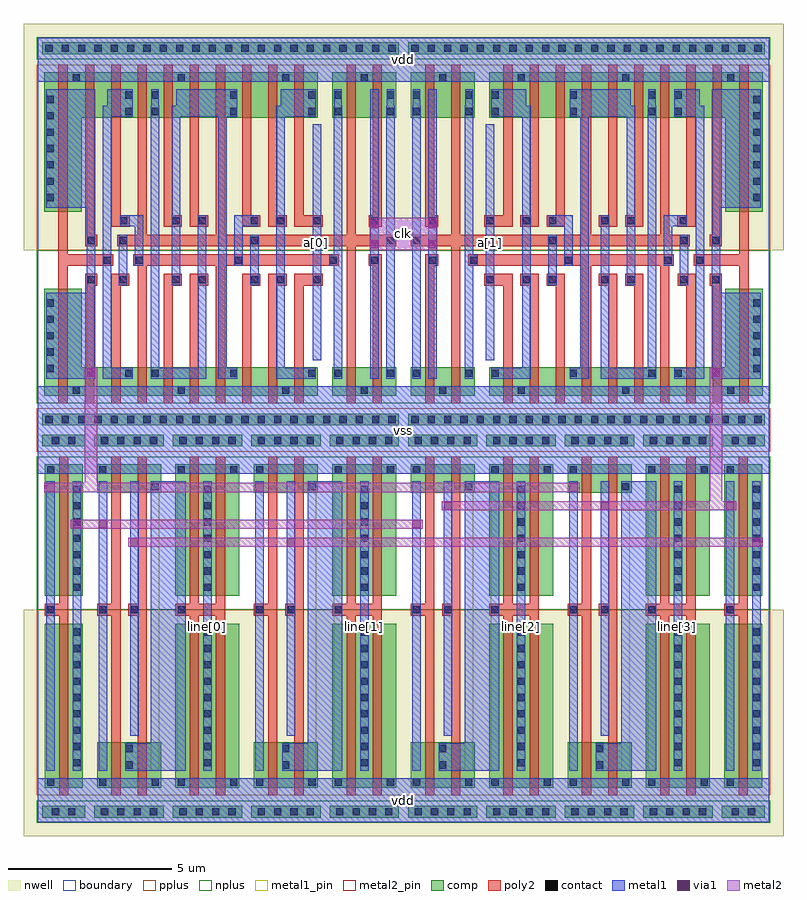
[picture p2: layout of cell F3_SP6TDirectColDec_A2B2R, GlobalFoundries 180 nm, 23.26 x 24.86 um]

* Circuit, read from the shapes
.subckt F3_SP6TDirectColDec_A2B2R a[0] a[1] clk line[0] line[1] line[2] line[3] vdd vss
XM1 vss n1 F3_Dec_inv_x1_4/i vss nfet_03v3 w=3.275u l=0.28u
XM2 F3_Dec_nand2_x0_0/i0 F3_Dec_inv_x1_4/i vss vss nfet_03v3 w=4.025u l=0.28u
XM3 n2 F3_Dec_inv_x1_4/i vss vss nfet_03v3 w=0.88u l=0.28u
XM4 n3 F3_Dec_nand2_x0_0/i0 vss vss nfet_03v3 w=0.88u l=0.28u
XM5 n1 n4 n2 vss nfet_03v3 w=0.88u l=0.28u
XM6 F3_Dec_inv_x2_7/i F3_Dec_nand2_x0_0/i1 n3 vss nfet_03v3 w=0.88u l=0.28u
XM7 n5 n6 n1 vss nfet_03v3 w=0.88u l=0.28u
XM8 vss n7 n5 vss nfet_03v3 w=0.88u l=0.28u
XM9 line[0] F3_Dec_inv_x2_7/i vss vss nfet_03v3 w=4.025u l=0.28u m=2
XM10 n8 n5 vss vss nfet_03v3 w=0.88u l=0.28u
XM11 n7 n6 n8 vss nfet_03v3 w=0.88u l=0.28u
XM12 n9 n4 n7 vss nfet_03v3 w=0.88u l=0.28u
XM13 n10 F3_Dec_inv_x1_4/i vss vss nfet_03v3 w=0.88u l=0.28u
XM14 vss n11 n9 vss nfet_03v3 w=0.88u l=0.28u
XM15 F3_Dec_inv_x2_8/i F3_Dec_nand2_x0_0/i1 n10 vss nfet_03v3 w=0.88u l=0.28u
XM16 n11 a[0] vss vss nfet_03v3 w=0.88u l=0.28u
XM17 line[1] F3_Dec_inv_x2_8/i vss vss nfet_03v3 w=4.025u l=0.28u m=2
XM18 vss n4 n6 vss nfet_03v3 w=0.88u l=0.28u
XM19 n4 clk vss vss nfet_03v3 w=0.88u l=0.28u
XM20 n12 F3_Dec_nand2_x0_0/i0 vss vss nfet_03v3 w=0.88u l=0.28u
XM21 vss clk n13 vss nfet_03v3 w=0.88u l=0.28u
XM22 F3_Dec_inv_x2_9/i F3_Dec_inv_x1_5/i n12 vss nfet_03v3 w=0.88u l=0.28u
XM23 n14 n13 vss vss nfet_03v3 w=0.88u l=0.28u
XM24 line[2] F3_Dec_inv_x2_9/i vss vss nfet_03v3 w=4.025u l=0.28u m=2
XM25 vss a[1] n15 vss nfet_03v3 w=0.88u l=0.28u
XM26 n16 n15 vss vss nfet_03v3 w=0.88u l=0.28u
XM27 n17 n13 n16 vss nfet_03v3 w=0.88u l=0.28u
XM28 n18 F3_Dec_inv_x1_4/i vss vss nfet_03v3 w=0.88u l=0.28u
XM29 n19 n14 n17 vss nfet_03v3 w=0.88u l=0.28u
XM30 F3_Dec_inv_x2_10/i F3_Dec_inv_x1_5/i n18 vss nfet_03v3 w=0.88u l=0.28u
XM31 vss n20 n19 vss nfet_03v3 w=0.88u l=0.28u
XM32 n20 n17 vss vss nfet_03v3 w=0.88u l=0.28u
XM33 line[3] F3_Dec_inv_x2_10/i vss vss nfet_03v3 w=4.025u l=0.28u m=2
XM34 n21 n14 n20 vss nfet_03v3 w=0.88u l=0.28u
XM35 n22 n13 n21 vss nfet_03v3 w=0.88u l=0.28u
XM36 vss F3_Dec_inv_x1_5/i n22 vss nfet_03v3 w=0.88u l=0.28u
XM37 F3_Dec_nand2_x0_0/i1 F3_Dec_inv_x1_5/i vss vss nfet_03v3 w=4.025u l=0.28u
XM38 F3_Dec_inv_x1_5/i n21 vss vss nfet_03v3 w=3.275u l=0.28u
XM39 vdd n1 F3_Dec_inv_x1_4/i vdd pfet_03v3 w=4.275u l=0.28u
XM40 F3_Dec_nand2_x0_0/i0 F3_Dec_inv_x1_4/i vdd vdd pfet_03v3 w=5.025u l=0.28u
XM41 n23 F3_Dec_inv_x1_4/i vdd vdd pfet_03v3 w=1.4u l=0.28u
XM42 F3_Dec_inv_x2_7/i F3_Dec_nand2_x0_0/i0 vdd vdd pfet_03v3 w=1.4u l=0.28u
XM43 n1 n6 n23 vdd pfet_03v3 w=1.4u l=0.28u
XM44 vdd F3_Dec_nand2_x0_0/i1 F3_Dec_inv_x2_7/i vdd pfet_03v3 w=1.4u l=0.28u
XM45 n5 n4 n1 vdd pfet_03v3 w=1.4u l=0.28u
XM46 vdd n7 n5 vdd pfet_03v3 w=1.4u l=0.28u
XM47 line[0] F3_Dec_inv_x2_7/i vdd vdd pfet_03v3 w=5.025u l=0.28u m=2
XM48 n24 n5 vdd vdd pfet_03v3 w=1.4u l=0.28u
XM49 n7 n4 n24 vdd pfet_03v3 w=1.4u l=0.28u
XM50 n25 n6 n7 vdd pfet_03v3 w=1.4u l=0.28u
XM51 F3_Dec_inv_x2_8/i F3_Dec_inv_x1_4/i vdd vdd pfet_03v3 w=1.4u l=0.28u
XM52 vdd n11 n25 vdd pfet_03v3 w=1.4u l=0.28u
XM53 vdd F3_Dec_nand2_x0_0/i1 F3_Dec_inv_x2_8/i vdd pfet_03v3 w=1.4u l=0.28u
XM54 n11 a[0] vdd vdd pfet_03v3 w=1.4u l=0.28u
XM55 line[1] F3_Dec_inv_x2_8/i vdd vdd pfet_03v3 w=5.025u l=0.28u m=2
XM56 vdd n4 n6 vdd pfet_03v3 w=1.4u l=0.28u
XM57 n4 clk vdd vdd pfet_03v3 w=1.4u l=0.28u
XM58 F3_Dec_inv_x2_9/i F3_Dec_nand2_x0_0/i0 vdd vdd pfet_03v3 w=1.4u l=0.28u
XM59 vdd clk n13 vdd pfet_03v3 w=1.4u l=0.28u
XM60 vdd F3_Dec_inv_x1_5/i F3_Dec_inv_x2_9/i vdd pfet_03v3 w=1.4u l=0.28u
XM61 n14 n13 vdd vdd pfet_03v3 w=1.4u l=0.28u
XM62 line[2] F3_Dec_inv_x2_9/i vdd vdd pfet_03v3 w=5.025u l=0.28u m=2
XM63 vdd a[1] n15 vdd pfet_03v3 w=1.4u l=0.28u
XM64 n26 n15 vdd vdd pfet_03v3 w=1.4u l=0.28u
XM65 n17 n14 n26 vdd pfet_03v3 w=1.4u l=0.28u
XM66 F3_Dec_inv_x2_10/i F3_Dec_inv_x1_4/i vdd vdd pfet_03v3 w=1.4u l=0.28u
XM67 n27 n13 n17 vdd pfet_03v3 w=1.4u l=0.28u
XM68 vdd F3_Dec_inv_x1_5/i F3_Dec_inv_x2_10/i vdd pfet_03v3 w=1.4u l=0.28u
XM69 vdd n20 n27 vdd pfet_03v3 w=1.4u l=0.28u
XM70 n20 n17 vdd vdd pfet_03v3 w=1.4u l=0.28u
XM71 line[3] F3_Dec_inv_x2_10/i vdd vdd pfet_03v3 w=5.025u l=0.28u m=2
XM72 n21 n13 n20 vdd pfet_03v3 w=1.4u l=0.28u
XM73 n28 n14 n21 vdd pfet_03v3 w=1.4u l=0.28u
XM74 vdd F3_Dec_inv_x1_5/i n28 vdd pfet_03v3 w=1.4u l=0.28u
XM75 F3_Dec_nand2_x0_0/i1 F3_Dec_inv_x1_5/i vdd vdd pfet_03v3 w=5.025u l=0.28u
XM76 F3_Dec_inv_x1_5/i n21 vdd vdd pfet_03v3 w=4.275u l=0.28u
.ends

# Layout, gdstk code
from math import pi, radians
import gdstk
lib = gdstk.Library(unit=1e-6, precision=1e-09)
def R(c, l, rs):  # rectangles x0, y0, x1, y1
    for r in rs: c.add(gdstk.rectangle(r[:2], r[2:], *l))
def A(c, l, x, y, w, h, nx, ny, dx, dy):  # array of equal rectangles
    R(c, l, [(x+i*dx, y+j*dy, x+i*dx+w, y+j*dy+h) for i in range(nx) for j in range(ny)])
def P(c, l, *ps):  # polygons
    for p in ps: c.add(gdstk.Polygon(p, *l))
boundary = (0, 0)
nwell = (21, 0)
comp = (22, 0)
poly2 = (30, 0)
pplus = (31, 0)
nplus = (32, 0)
contact = (33, 0)
metal1 = (34, 0)
metal1_pin = (34, 10)
via1 = (35, 0)
metal2 = (36, 0)
metal2_pin = (36, 10)

f3_dec_nand2_x0 = lib.new_cell('F3_Dec_nand2_x0')
R(f3_dec_nand2_x0, nwell, [(-0.43,5.5,2.83,12.43)])
R(f3_dec_nand2_x0, comp, [(0.14,0.14,2.26,0.5), (0.22,1.045,2.18,1.925), (0.22,9.555,2.18,10.955), (0.14,11.5,2.26,11.86)])
P(f3_dec_nand2_x0, poly2, [(1.46,0.825),(1.46,5.32),(1.18,5.32),(1.18,5.68),(1.46,5.68),(1.46,11.175),(1.74,11.175),(1.74,0.825)],
  [(0.66,0.825),(0.66,5.32),(0.22,5.32),(0.22,5.68),(0.66,5.68),(0.66,11.175),(0.94,11.175),(0.94,0.825)])
R(f3_dec_nand2_x0, pplus, [(-0.02,-0.02,2.42,0.66), (-0.02,5.5,2.42,11.185)])
R(f3_dec_nand2_x0, nplus, [(-0.02,0.815,2.42,5.5), (-0.02,11.34,2.42,12.02)])
A(f3_dec_nand2_x0, contact, 0.34, 0.21, 0.22, 0.22, 4, 2, 0.5, 11.36)
R(f3_dec_nand2_x0, contact, [(0.29,1.115,0.51,1.335), (1.89,1.63,2.11,1.85), (0.29,5.39,0.51,5.61), (1.25,5.39,1.47,5.61), (1.09,9.64,1.31,9.86), (1.09,10.14,1.31,10.36), (0.29,10.665,0.51,10.885), (1.89,10.665,2.11,10.885)])
R(f3_dec_nand2_x0, metal1, [(0,0,2.4,1.34), (0.27,1.57,0.53,10.43), (1.23,1.57,1.49,9.35), (0,10.66,2.4,12)])
P(f3_dec_nand2_x0, metal1, [(1.87,1.57),(1.87,9.58),(1.085,9.58),(1.085,10.43),(2.13,10.43),(2.13,1.57)])
R(f3_dec_nand2_x0, metal1_pin, [(0,0,2.4,1.34), (0.27,1.57,0.53,10.43), (1.23,1.57,1.49,9.35), (1.87,1.57,2.13,10.43), (0,10.66,2.4,12)])
f3_dec_nand2_x0.add(gdstk.Label('nq', (2,6), layer=34, texttype=10))
f3_dec_nand2_x0.add(gdstk.Label('i1', (1.36,5.46), layer=34, texttype=10))
f3_dec_nand2_x0.add(gdstk.Label('i0', (0.4,6), layer=34, texttype=10))
f3_dec_nand2_x0.add(gdstk.Label('vdd', (1.2,11.33), layer=34, texttype=10))
f3_dec_nand2_x0.add(gdstk.Label('vss', (1.2,0.67), layer=34, texttype=10))

f3_dec_inv_x1 = lib.new_cell('F3_Dec_inv_x1')
R(f3_dec_inv_x1, nwell, [(-0.43,5.5,2.03,12.43)])
R(f3_dec_inv_x1, comp, [(0.14,0.14,1.46,0.5), (0.22,1.045,1.38,5.07), (0.22,5.93,1.38,10.955), (0.14,11.5,1.46,11.86)])
P(f3_dec_inv_x1, poly2, [(0.66,0.825),(0.66,5.32),(0.22,5.32),(0.22,5.68),(0.66,5.68),(0.66,11.175),(0.94,11.175),(0.94,0.825)])
R(f3_dec_inv_x1, pplus, [(-0.02,-0.02,1.62,0.66), (-0.02,5.5,1.62,11.185)])
R(f3_dec_inv_x1, nplus, [(-0.02,0.815,1.62,5.5), (-0.02,11.34,1.62,12.02)])
A(f3_dec_inv_x1, contact, 1.09, 1.705, 0.22, 0.22, 1, 7, 0, 0.5)
A(f3_dec_inv_x1, contact, 1.09, 6.075, 0.22, 0.22, 1, 9, 0, 0.5)
R(f3_dec_inv_x1, contact, [(0.44,0.21,0.66,0.43), (0.94,0.21,1.16,0.43), (0.29,1.115,0.51,1.335), (0.29,5.39,0.51,5.61), (0.29,10.665,0.51,10.885), (0.44,11.57,0.66,11.79), (0.94,11.57,1.16,11.79)])
R(f3_dec_inv_x1, metal1, [(0,0,1.6,1.34), (0.27,1.57,0.53,10.43), (1.07,1.57,1.33,10.43), (0,10.66,1.6,12)])
R(f3_dec_inv_x1, metal1_pin, [(0,0,1.6,1.34), (0.27,1.57,0.53,10.43), (1.07,1.57,1.33,10.43), (0,10.66,1.6,12)])
f3_dec_inv_x1.add(gdstk.Label('i', (0.4,6), layer=34, texttype=10))
f3_dec_inv_x1.add(gdstk.Label('nq', (1.2,6), layer=34, texttype=10))
f3_dec_inv_x1.add(gdstk.Label('vdd', (0.8,11.33), layer=34, texttype=10))
f3_dec_inv_x1.add(gdstk.Label('vss', (0.8,0.67), layer=34, texttype=10))

f3_dec_dff_x1 = lib.new_cell('F3_Dec_dff_x1')
R(f3_dec_dff_x1, nwell, [(-0.43,5.5,11.63,12.43)])
R(f3_dec_dff_x1, comp, [(0.14,0.14,11.06,0.5), (0.22,1.045,2.18,1.925), (0.22,9.555,2.18,10.955), (0.14,11.5,11.06,11.86)])
P(f3_dec_dff_x1, comp, [(2.62,1.045),(2.62,1.925),(9.84,1.925),(9.84,4.32),(11,4.32),(11,1.045)],
  [(9.84,6.68),(9.84,9.555),(2.62,9.555),(2.62,10.955),(11,10.955),(11,6.68)])
P(f3_dec_dff_x1, poly2, [(9.38,5.62),(9.38,5.98),(9.46,5.98),(9.46,11.175),(9.74,11.175),(9.74,5.62)],
  [(10.28,0.825),(10.28,5.02),(8.89,5.02),(8.89,5.38),(10.28,5.38),(10.28,11.175),(10.56,11.175),(10.56,0.825)],
  [(2.47,6.22),(2.47,6.58),(3.06,6.58),(3.06,11.175),(3.34,11.175),(3.34,6.22)],
  [(3.06,0.825),(3.06,4.42),(2.47,4.42),(2.47,4.78),(3.34,4.78),(3.34,0.825)],
  [(3.58,6.22),(3.58,6.58),(3.86,6.58),(3.86,11.175),(4.14,11.175),(4.14,6.22)],
  [(4.38,6.22),(4.38,6.58),(4.66,6.58),(4.66,11.175),(4.94,11.175),(4.94,6.22)],
  [(5.98,6.22),(5.98,6.58),(6.26,6.58),(6.26,11.175),(6.54,11.175),(6.54,6.22)],
  [(6.78,6.22),(6.78,6.58),(7.06,6.58),(7.06,11.175),(7.34,11.175),(7.34,6.22)],
  [(8.38,6.22),(8.38,6.58),(8.66,6.58),(8.66,11.175),(8.94,11.175),(8.94,6.22)],
  [(5.46,0.825),(5.46,5.02),(1.98,5.02),(1.98,5.38),(8.27,5.38),(8.27,5.02),(8.14,5.02),(8.14,0.825),(7.86,0.825),(7.86,5.02),(5.74,5.02),(5.74,0.825)],
  [(3.86,0.825),(3.86,4.42),(3.58,4.42),(3.58,4.78),(4.14,4.78),(4.14,0.825)],
  [(4.66,0.825),(4.66,4.42),(4.38,4.42),(4.38,4.78),(4.94,4.78),(4.94,0.825)],
  [(6.26,0.825),(6.26,4.42),(5.98,4.42),(5.98,4.78),(6.54,4.78),(6.54,0.825)],
  [(7.06,0.825),(7.06,4.42),(6.78,4.42),(6.78,4.78),(7.34,4.78),(7.34,0.825)],
  [(9.46,0.825),(9.46,4.42),(9.38,4.42),(9.38,4.78),(9.74,4.78),(9.74,0.825)],
  [(0.66,0.825),(0.66,5.38),(1.07,5.38),(1.07,5.02),(0.94,5.02),(0.94,0.825)],
  [(0.66,6.22),(0.66,11.175),(0.94,11.175),(0.94,6.58),(1.07,6.58),(1.07,6.22)],
  [(8.66,0.825),(8.66,4.42),(8.4,4.42),(8.4,4.78),(8.94,4.78),(8.94,0.825)],
  [(1.46,0.825),(1.46,5.62),(0.22,5.62),(0.22,5.98),(1.46,5.98),(1.46,11.175),(1.74,11.175),(1.74,5.98),(5.46,5.98),(5.46,11.175),(5.74,11.175),(5.74,5.98),(7.86,5.98),(7.86,11.175),(8.14,11.175),(8.14,5.98),(8.76,5.98),(8.76,5.62),(1.74,5.62),(1.74,0.825)])
R(f3_dec_dff_x1, pplus, [(-0.02,-0.02,11.22,0.66), (-0.02,5.5,11.22,11.185)])
R(f3_dec_dff_x1, nplus, [(-0.02,0.815,11.22,5.5), (-0.02,11.34,11.22,12.02)])
A(f3_dec_dff_x1, contact, 0.24, 0.21, 0.22, 0.22, 22, 2, 0.5, 11.36)
A(f3_dec_dff_x1, contact, 2.69, 1.63, 0.22, 0.22, 3, 2, 2.4, 8.01)
A(f3_dec_dff_x1, contact, 10.71, 1.775, 0.22, 0.22, 1, 5, 0, 0.5)
A(f3_dec_dff_x1, contact, 10.71, 7.005, 0.22, 0.22, 1, 7, 0, 0.5)
A(f3_dec_dff_x1, contact, 2.69, 10.14, 0.22, 0.22, 3, 1, 2.4, 0)
R(f3_dec_dff_x1, contact, [(1.09,1.115,1.31,1.335), (3.49,1.115,3.71,1.335), (6.69,1.115,6.91,1.335), (9.91,1.115,10.13,1.335), (0.29,1.63,0.51,1.85), (1.89,1.63,2.11,1.85), (8.29,1.63,8.51,1.85), (2.54,4.49,2.76,4.71), (3.65,4.49,3.87,4.71), (4.45,4.49,4.67,4.71), (6.05,4.49,6.27,4.71), (6.85,4.49,7.07,4.71), (8.47,4.49,8.69,4.71), (9.45,4.49,9.67,4.71), (0.78,5.09,1,5.31), (2.05,5.09,2.27,5.31), (4.94,5.09,5.16,5.31), (7.98,5.09,8.2,5.31), (8.96,5.09,9.18,5.31), (0.29,5.69,0.51,5.91), (4.45,5.69,4.67,5.91), (8.47,5.69,8.69,5.91), (9.45,5.69,9.67,5.91), (0.78,6.29,1,6.51), (2.54,6.29,2.76,6.51), (3.65,6.29,3.87,6.51), (4.45,6.29,4.67,6.51), (6.05,6.29,6.27,6.51), (6.85,6.29,7.07,6.51), (8.45,6.29,8.67,6.51), (0.29,9.64,0.51,9.86), (1.89,9.64,2.11,9.86), (8.29,9.64,8.51,9.86), (0.29,10.14,0.51,10.36), (1.89,10.14,2.11,10.36), (8.29,10.14,8.51,10.36), (1.09,10.665,1.31,10.885), (3.49,10.665,3.71,10.885), (6.69,10.665,6.91,10.885), (9.91,10.665,10.13,10.885)])
R(f3_dec_dff_x1, metal1, [(0,0,11.2,1.34), (0.76,1.57,1.02,10.43), (2.52,2.14,2.78,9.35), (4.43,4.43,4.69,5.97), (8.45,4.43,8.71,5.97), (0,10.66,11.2,12)])
P(f3_dec_dff_x1, metal1, [(9.43,1.57),(9.43,10.43),(10.935,10.43),(10.935,6.8),(9.69,6.8),(9.69,4.2),(10.935,4.2),(10.935,1.57)],
  [(8.285,1.57),(8.285,1.91),(8.94,1.91),(8.94,9.58),(8.285,9.58),(8.285,10.43),(9.07,10.43),(9.07,9.92),(9.2,9.92),(9.2,1.57)],
  [(5.085,1.57),(5.085,1.91),(5.41,1.91),(5.41,9.58),(5.085,9.58),(5.085,10.43),(6.96,10.43),(6.96,9.92),(7.09,9.92),(7.09,4.43),(6.83,4.43),(6.83,9.58),(5.67,9.58),(5.67,1.57)],
  [(4.92,5.03),(4.92,6.23),(4.445,6.23),(4.445,6.57),(5.18,6.57),(5.18,5.03)],
  [(2.685,1.57),(2.685,1.91),(3.63,1.91),(3.63,9.58),(2.685,9.58),(2.685,10.43),(3.76,10.43),(3.76,9.92),(3.89,9.92),(3.89,1.57)],
  [(7.96,5.03),(7.96,6.57),(8.675,6.57),(8.675,6.23),(8.22,6.23),(8.22,5.03)],
  [(6.03,1.57),(6.03,6.57),(6.29,6.57),(6.29,1.91),(7.47,1.91),(7.47,9.92),(7.485,9.92),(7.485,10.43),(7.715,10.43),(7.715,9.92),(7.73,9.92),(7.73,1.57)],
  [(1.87,1.57),(1.87,9.92),(1.885,9.92),(1.885,10.43),(2.115,10.43),(2.115,9.92),(2.13,9.92),(2.13,5.37),(2.275,5.37),(2.275,5.03),(2.13,5.03),(2.13,1.57)],
  [(0.27,1.57),(0.27,9.92),(0.285,9.92),(0.285,10.43),(0.515,10.43),(0.515,9.92),(0.53,9.92),(0.53,1.57)])
R(f3_dec_dff_x1, metal1_pin, [(0,0,11.2,1.34), (0.76,1.57,1.02,10.43), (9.43,1.57,9.69,10.43), (2.52,2.14,2.78,9.35), (0,10.66,11.2,12)])
f3_dec_dff_x1.add(gdstk.Label('q', (9.56,6), layer=34, texttype=10))
f3_dec_dff_x1.add(gdstk.Label('i', (2.65,5.745), layer=34, texttype=10))
f3_dec_dff_x1.add(gdstk.Label('clk', (0.89,6), layer=34, texttype=10))
f3_dec_dff_x1.add(gdstk.Label('vss', (5.6,0.67), layer=34, texttype=10))
f3_dec_dff_x1.add(gdstk.Label('vdd', (5.6,11.33), layer=34, texttype=10))

f3_dec_inv_x2 = lib.new_cell('F3_Dec_inv_x2')
R(f3_dec_inv_x2, nwell, [(-0.43,5.5,2.83,12.43)])
R(f3_dec_inv_x2, comp, [(0.14,0.14,2.26,0.5), (0.22,1.045,2.18,5.07), (0.22,5.93,2.18,10.955), (0.14,11.5,2.26,11.86)])
P(f3_dec_inv_x2, poly2, [(0.66,0.825),(0.66,5.32),(0.22,5.32),(0.22,5.68),(0.66,5.68),(0.66,11.175),(0.94,11.175),(0.94,5.68),(1.46,5.68),(1.46,11.175),(1.74,11.175),(1.74,0.825),(1.46,0.825),(1.46,5.32),(0.94,5.32),(0.94,0.825)])
R(f3_dec_inv_x2, pplus, [(-0.02,-0.02,2.42,0.66), (-0.02,5.5,2.42,11.185)])
R(f3_dec_inv_x2, nplus, [(-0.02,0.815,2.42,5.5), (-0.02,11.34,2.42,12.02)])
A(f3_dec_inv_x2, contact, 0.34, 0.21, 0.22, 0.22, 4, 2, 0.5, 11.36)
A(f3_dec_inv_x2, contact, 1.09, 1.705, 0.22, 0.22, 1, 7, 0, 0.5)
A(f3_dec_inv_x2, contact, 1.09, 6.075, 0.22, 0.22, 1, 9, 0, 0.5)
R(f3_dec_inv_x2, contact, [(0.29,1.115,0.51,1.335), (1.89,1.115,2.11,1.335), (0.29,5.39,0.51,5.61), (0.29,10.665,0.51,10.885), (1.89,10.665,2.11,10.885)])
R(f3_dec_inv_x2, metal1, [(0,0,2.4,1.34), (0.27,1.57,0.53,10.43), (1.07,1.57,1.33,10.43), (0,10.66,2.4,12)])
R(f3_dec_inv_x2, metal1_pin, [(0,0,2.4,1.34), (0.27,1.57,0.53,10.43), (1.07,1.57,1.33,10.43), (0,10.66,2.4,12)])
f3_dec_inv_x2.add(gdstk.Label('i', (0.4,6), layer=34, texttype=10))
f3_dec_inv_x2.add(gdstk.Label('nq', (1.2,6), layer=34, texttype=10))
f3_dec_inv_x2.add(gdstk.Label('vdd', (1.2,11.33), layer=34, texttype=10))
f3_dec_inv_x2.add(gdstk.Label('vss', (1.2,0.67), layer=34, texttype=10))

f3_sp6tdirectcoldec_a2b2 = lib.new_cell('F3_SP6TDirectColDec_A2B2R')
R(f3_sp6tdirectcoldec_a2b2, boundary, [(0,-12,22.4,12)])
A(f3_sp6tdirectcoldec_a2b2, metal1, 3.47, -10.43, 1.06, 8.86, 4, 1, 4.8, 0)
A(f3_sp6tdirectcoldec_a2b2, metal1, 5.07, -10.43, 0.26, 8.86, 4, 1, 4.8, 0)
R(f3_sp6tdirectcoldec_a2b2, metal1, [(0,-12,22.4,-10.66), (2.83,-3.63,3.09,-3.25), (7.63,-3.63,7.89,-3.25), (21.87,-3.63,22.13,-3.25), (1.07,-3.07,1.33,-2.69), (1.87,-3.07,2.13,-2.69), (11.47,-3.07,11.73,-2.69), (12.43,-2.51,12.69,-2.13), (17.23,-2.51,17.49,-2.13), (21.07,-2.51,21.33,-2.13), (0.27,-1.95,0.53,-1.57), (6.67,-1.95,6.93,-1.57), (16.27,-1.95,16.53,-1.57), (0,-1.34,22.4,1.34), (1.51,1.57,1.77,1.95), (20.63,1.57,20.89,1.95), (8.42,2.14,8.68,9.35), (13.72,2.14,13.98,9.35), (10.18,5.5,10.44,6.5), (11.96,5.5,12.22,6.5), (0,10.66,22.4,12)])
A(f3_sp6tdirectcoldec_a2b2, metal1_pin, 5.07, -10.43, 0.26, 8.86, 4, 1, 4.8, 0)
R(f3_sp6tdirectcoldec_a2b2, metal1_pin, [(0,-12,22.4,-10.66), (0,-1.34,22.4,1.34), (8.42,2.14,8.68,9.35), (13.72,2.14,13.98,9.35), (0,10.66,22.4,12)])
R(f3_sp6tdirectcoldec_a2b2, via1, [(2.83,-3.57,3.09,-3.31), (7.63,-3.57,7.89,-3.31), (21.87,-3.57,22.13,-3.31), (1.07,-3.01,1.33,-2.75), (1.87,-3.01,2.13,-2.75), (11.47,-3.01,11.73,-2.75), (12.43,-2.45,12.69,-2.19), (17.23,-2.45,17.49,-2.19), (21.07,-2.45,21.33,-2.19), (0.27,-1.89,0.53,-1.63), (6.67,-1.89,6.93,-1.63), (16.27,-1.89,16.53,-1.63), (1.51,1.63,1.77,1.89), (20.63,1.63,20.89,1.89), (10.18,5.56,10.44,5.82), (11.96,5.56,12.22,5.82), (10.18,6.18,10.44,6.44), (11.96,6.18,12.22,6.44)])
R(f3_sp6tdirectcoldec_a2b2, metal2, [(2.77,-3.58,22.19,-3.3), (1.01,-3.02,11.79,-2.74), (10.17,5.5,12.23,6.5)])
P(f3_sp6tdirectcoldec_a2b2, metal2, [(12.37,-2.46),(12.37,-2.18),(20.57,-2.18),(20.57,1.9),(20.95,1.9),(20.95,-2.18),(21.39,-2.18),(21.39,-2.46)],
  [(0.21,-1.9),(0.21,-1.62),(1.45,-1.62),(1.45,1.9),(1.83,1.9),(1.83,-1.62),(16.59,-1.62),(16.59,-1.9)])
R(f3_sp6tdirectcoldec_a2b2, metal2_pin, [(10.17,5.5,12.23,6.5)])
f3_sp6tdirectcoldec_a2b2.add(gdstk.Reference(f3_dec_nand2_x0, (1.6,0), x_reflection=True))
f3_sp6tdirectcoldec_a2b2.add(gdstk.Reference(f3_dec_nand2_x0, (6.4,0), x_reflection=True))
f3_sp6tdirectcoldec_a2b2.add(gdstk.Reference(f3_dec_nand2_x0, (11.2,0), x_reflection=True))
f3_sp6tdirectcoldec_a2b2.add(gdstk.Reference(f3_dec_nand2_x0, (16,0), x_reflection=True))
f3_sp6tdirectcoldec_a2b2.add(gdstk.Reference(f3_dec_inv_x1, (0,0), x_reflection=True))
f3_sp6tdirectcoldec_a2b2.add(gdstk.Reference(f3_dec_inv_x1, (20.8,0), x_reflection=True))
f3_sp6tdirectcoldec_a2b2.add(gdstk.Reference(f3_dec_dff_x1, (11.2,0)))
f3_sp6tdirectcoldec_a2b2.add(gdstk.Reference(f3_dec_inv_x2, (4,0), x_reflection=True))
f3_sp6tdirectcoldec_a2b2.add(gdstk.Reference(f3_dec_inv_x2, (8.8,0), x_reflection=True))
f3_sp6tdirectcoldec_a2b2.add(gdstk.Reference(f3_dec_inv_x2, (13.6,0), x_reflection=True))
f3_sp6tdirectcoldec_a2b2.add(gdstk.Reference(f3_dec_inv_x2, (18.4,0), x_reflection=True))
f3_sp6tdirectcoldec_a2b2.add(gdstk.Reference(f3_dec_dff_x1, (11.2,0), rotation=pi, x_reflection=True))
f3_sp6tdirectcoldec_a2b2.add(gdstk.Label('line[3]', (19.6,-6), layer=34, texttype=10))
f3_sp6tdirectcoldec_a2b2.add(gdstk.Label('line[2]', (14.8,-6), layer=34, texttype=10))
f3_sp6tdirectcoldec_a2b2.add(gdstk.Label('line[1]', (10,-6), layer=34, texttype=10))
f3_sp6tdirectcoldec_a2b2.add(gdstk.Label('a[1]', (13.85,5.745), layer=34, texttype=10))
f3_sp6tdirectcoldec_a2b2.add(gdstk.Label('a[0]', (8.55,5.745), layer=34, texttype=10))
f3_sp6tdirectcoldec_a2b2.add(gdstk.Label('vdd', (11.2,-11.33), layer=34, texttype=10))
f3_sp6tdirectcoldec_a2b2.add(gdstk.Label('vdd', (11.2,11.33), layer=34, texttype=10))
f3_sp6tdirectcoldec_a2b2.add(gdstk.Label('line[0]', (5.2,-6), layer=34, texttype=10))
f3_sp6tdirectcoldec_a2b2.add(gdstk.Label('vss', (11.2,0), layer=34, texttype=10))
f3_sp6tdirectcoldec_a2b2.add(gdstk.Label('clk', (11.2,6), layer=36, texttype=10))

lib.write_gds('F3_SP6TDirectColDec_A2B2R.gds')
